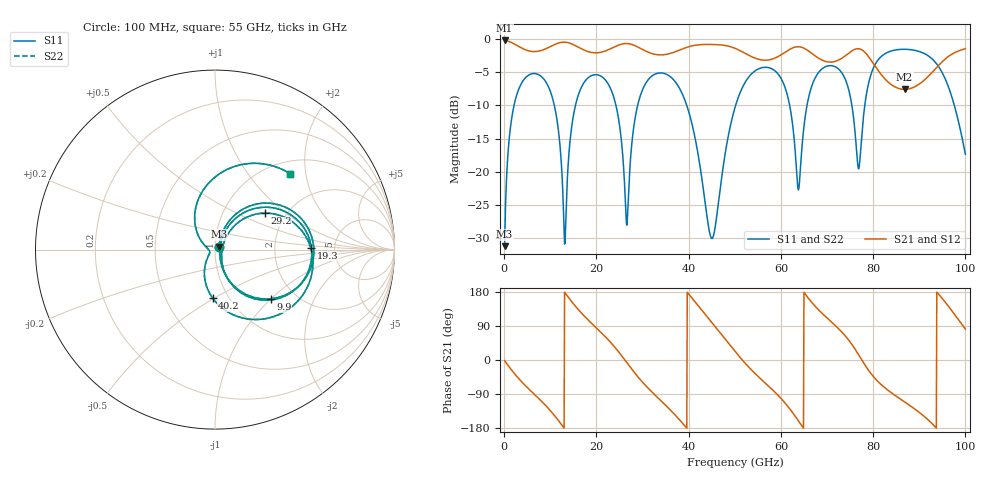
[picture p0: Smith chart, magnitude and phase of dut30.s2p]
! Touchstone file exported from HFSS 2026.1.0
!  File:  C:/ffzhzh/LocalFiles/Ansys_Project_Files/temp_train_TSV_RDL_30_1783616337_29156.aedt
!  Generated:  01:27:24 AM Jul 10, 2026
!  Design:  TSV_RDL
!  Project:  temp_train_TSV_RDL_30_1783616337_29156
! Variables:
!  h_bsmrdl = 3.91um
!  h_ox = 20um
!  h_rdl = 5um
!  h_sub = 86.72um
!  h_tmrdl = 4.34um
!  h_tsv = 86.72um
!  h_via = 3um
!  l_bsmrdl = 501.91um
!  l_sub = 4636.57um
!  l_tmrdl = 653.88um
!  m_sub = 200um
!  pitch = 46.86um
!  r_tsv = 5.42um
!  s_tmrdl = 10um
!  w_bsmrdl = 14.73um
!  w_sub = 500um
!  w_tmrdl = 23.71um
!  x_tsv_center1 = 665.735um
!  x_tsv_center2 = 1182.375um
!  x_tsv_center3 = 1859.965um
!  x_tsv_center4 = 2376.605um
!  x_tsv_center5 = 3054.195um
!  x_tsv_center6 = 3570.835um
# GHz S MA R 50.000000
! Terminal data exported
! Port[1] = TM_RDL1_1_T1
! Port[2] = TM_RDL5_1_T1
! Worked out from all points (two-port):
!   1000 points, 100 MHz to 100 GHz, reference 50 ohm
!   highest |S21| = -0.19 dB at 100 MHz (marker M1); lowest = -7.6 dB at 86.8 GHz (marker M2)
!   |S21| within 3 dB of the highest: start of sweep to 69.03 GHz; 72.39 GHz to 79.57 GHz (7.182 GHz wide, 9.45 % of centre) (the widest 2 of 3)
!   lowest |S11| = -31.2 dB at 100 MHz (marker M3), VSWR 1.06, Z = 52.2 + j1.77 ohm
!   |S11| at or under -10 dB: 10.88 GHz to 15.45 GHz (4.571 GHz wide, 34.7 % of centre); 24.24 GHz to 28.94 GHz (4.698 GHz wide, 17.7 % of centre); 39.6 GHz to 50.18 GHz (10.59 GHz wide, 23.6 % of centre) (the widest 3 of 7)
!   |S22| runs from -31.2 to -1.5 dB; largest |S21 - S12| = 1.2e-13
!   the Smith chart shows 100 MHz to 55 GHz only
!   S11 on the Smith chart (normalised r, x): 100 MHz: 1.04, +0.04; 9.9 GHz: 1.51, -1.00; 19.3 GHz: 3.32, +0.10; 29.2 GHz: 1.56, +0.72; 40.2 GHz: 0.84, -0.49; 55 GHz: 1.24, +1.63
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0.1  0.02745 38.1  0.9788 -1.8  0.9788 -1.8  0.02745 38.1
! Gamma 0 0 0 0
! Port Impedance 50 0 50 0
2.9  0.3966 40.7  0.8911 -45.5  0.8911 -45.5  0.3966 40.7
9.9  0.4142 -41.4  0.8756 -132.0  0.8756 -132.0  0.4142 -41.4
13.1  0.02845 -16.6  0.9498 178.8  0.9498 178.8  0.02844 -16.7
16.8  0.4375 29.6  0.845 123.3  0.845 123.3  0.4375 29.6
19.3  0.537 1.2  0.7914 92.8  0.7914 92.8  0.537 1.2
24  0.3415 -52.4  0.8784 33.8  0.8784 33.8  0.3415 -52.4
26.6  0.03952 -4.3  0.9276 -6.9  0.9276 -6.9  0.03961 -4.3
29.2  0.3436 36.3  0.8657 -47.3  0.8657 -47.3  0.3436 36.3
33.4  0.555 -11.8  0.7629 -100.6  0.7629 -100.6  0.555 -11.8
40.2  0.2698 -92.9  0.8812 171.3  0.8812 171.3  0.2697 -92.9
45.1  0.03137 -164.2  0.9128 97.8  0.9128 97.8  0.03125 -164.7
50.1  0.3095 105.9  0.8524 22.0  0.8524 22.0  0.3095 105.9
55  0.5943 45.5  0.708 -42.7  0.708 -42.7  0.5942 45.5
63.8  0.07295 17.9  0.8778 -160.7  0.8778 -160.7  0.07296 17.9
66.7  0.4434 54.2  0.7818 151.9  0.7818 151.9  0.4433 54.1
73.5  0.5377 -15.3  0.7299 70.0  0.7299 70.0  0.5377 -15.4
77  0.1104 26.6  0.8464 10.7  0.8464 10.7  0.1099 26.6
83.4  0.8034 5.4  0.4698 -81.5  0.4698 -81.5  0.8033 5.4
86.8  0.8398 -20.6  0.4185 -110.4  0.4185 -110.4  0.8397 -20.6
95.2  0.5399 -102.8  0.6875 159.2  0.6875 159.2  0.5398 -102.9
100  0.1355 -174.7  0.8484 81.7  0.8484 81.7  0.1354 -175.0
